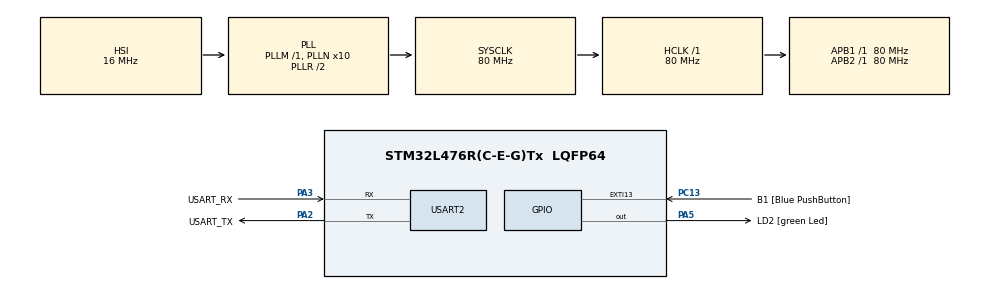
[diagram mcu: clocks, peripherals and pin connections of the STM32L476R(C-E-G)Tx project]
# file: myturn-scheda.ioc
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Mcu.Family=STM32L4
Mcu.Name=STM32L476R(C-E-G)Tx
Mcu.Package=LQFP64
NVIC.PriorityGroup=NVIC_PRIORITYGROUP_4
NVIC.USART2_IRQn=true\:0\:0\:false\:false\:true\:true\:true\:true
PA13\ (JTMS-SWDIO).GPIO_Label=TMS
PA13\ (JTMS-SWDIO).Signal=SYS_JTMS-SWDIO
PA14\ (JTCK-SWCLK).GPIO_Label=TCK
PA14\ (JTCK-SWCLK).Signal=SYS_JTCK-SWCLK
PA2.GPIO_Label=USART_TX
PA2.GPIO_Mode=GPIO_MODE_AF_PP
PA2.GPIO_PuPd=GPIO_NOPULL
PA2.GPIO_Speed=GPIO_SPEED_FREQ_VERY_HIGH
PA2.Mode=Asynchronous
PA2.Signal=USART2_TX
PA3.GPIO_Label=USART_RX
PA3.GPIO_Mode=GPIO_MODE_AF_PP
PA3.GPIO_PuPd=GPIO_NOPULL
PA3.GPIO_Speed=GPIO_SPEED_FREQ_VERY_HIGH
PA3.Mode=Asynchronous
PA3.Signal=USART2_RX
PA5.GPIO_Label=LD2 [green Led]
PA5.GPIO_ModeDefaultOutputPP=GPIO_MODE_OUTPUT_PP
PA5.GPIO_PuPd=GPIO_NOPULL
PA5.GPIO_Speed=GPIO_SPEED_FREQ_LOW
PA5.Signal=GPIO_Output
PB3\ (JTDO-TRACESWO).GPIO_Label=SWO
PB3\ (JTDO-TRACESWO).Signal=SYS_JTDO-SWO
PC13.GPIO_Label=B1 [Blue PushButton]
PC13.GPIO_ModeDefaultEXTI=GPIO_MODE_IT_FALLING
PC13.GPIO_PuPd=GPIO_NOPULL
PC13.Signal=GPXTI13
PC14-OSC32_IN\ (PC14).Signal=RCC_OSC32_IN
PC15-OSC32_OUT\ (PC15).Signal=RCC_OSC32_OUT
PH0-OSC_IN\ (PH0).Signal=RCC_OSC_IN
PH1-OSC_OUT\ (PH1).Signal=RCC_OSC_OUT
ProjectManager.HeapSize=0x200
ProjectManager.StackSize=0x400
ProjectManager.TargetToolchain=STM32CubeIDE
RCC.ADCFreq_Value=64000000
RCC.AHBFreq_Value=80000000
RCC.APB1Freq_Value=80000000
RCC.APB1TimFreq_Value=80000000
RCC.APB2Freq_Value=80000000
RCC.APB2TimFreq_Value=80000000
RCC.CortexFreq_Value=80000000
RCC.HCLKFreq_Value=80000000
RCC.HSE_VALUE=8000000
RCC.HSI_VALUE=16000000
RCC.LSE_VALUE=32768
RCC.MSI_VALUE=4000000
RCC.PLLN=10
RCC.PLLSourceVirtual=RCC_PLLSOURCE_HSI
RCC.PREFETCH_ENABLE=1
RCC.SYSCLKFreq_VALUE=80000000
RCC.SYSCLKSource=RCC_SYSCLKSOURCE_PLLCLK
RCC.USBFreq_Value=64000000
RCC.VCOOutputFreq_Value=160000000
USART2.VirtualMode-Asynchronous=VM_ASYNC
board=NUCLEO-L476RG

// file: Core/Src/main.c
/* USER CODE BEGIN Header */
/**
  ******************************************************************************
  * @file           : main.c
  * @brief          : MyTurn - Tappa 1 (gruppo 4 GOPHIES)
  ******************************************************************************
  * La scheda parla la lingua di MyTurn sulla seriale (USART2, 115200 baud):
  *   - B1 premuto:  OFF -> PENDING  scrive {"event":"REQUEST"}
  *                  PENDING/APPROVED -> OFF  scrive {"event":"RELEASE"}
  *   - dal PC:      {"command":"SET_LED","state":"APPROVED"}  (nessuna risposta)
  *                  {"command":"GET_LED"} -> {"led":"APPROVED"}
  * Niente HAL_Delay nel ciclo: il bottone risponde sempre, anche mentre il LED
  * lampeggia.
  ******************************************************************************
  */
/* USER CODE END Header */
#include "main.h"

/* USER CODE BEGIN Includes */
#include <string.h>
#include <stdio.h>

/* USER CODE END Includes */

/* USER CODE BEGIN PTD */
/* I tre stati del LED: UNA sola variabile, cambiata sia dal bottone sia dal PC */
typedef enum {
  LED_OFF = 0,     /* LED spento                         */
  LED_PENDING,     /* LED lampeggiante: ho chiesto turno  */
  LED_APPROVED     /* LED fisso: il PC ha approvato       */
} LedState;

/* USER CODE END PTD */

/* USER CODE BEGIN PD */
#define BLINK_MS     250   /* mezzo periodo del lampeggio                */
#define DEBOUNCE_MS  50    /* il bottone deve restare fermo per 50 ms    */
#define RX_MAX       64    /* lunghezza massima di una riga dal PC       */

/* USER CODE END PD */

UART_HandleTypeDef huart2;

/* USER CODE BEGIN PV */
static LedState ledState = LED_OFF;      /* lo stato: la "verita'" della scheda */

/* Ricezione dalla seriale (riempite dall'interrupt) */
static uint8_t rxByte;                   /* il byte appena arrivato            */
static char rxBuf[RX_MAX];               /* la riga che si sta componendo      */
static uint8_t rxLen = 0;
static char cmdLine[RX_MAX];             /* l'ultima riga completa             */
static volatile uint8_t cmdReady = 0;    /* 1 = c'e' una riga da elaborare      */

/* USER CODE END PV */

void SystemClock_Config(void);
static void MX_GPIO_Init(void);
static void MX_USART2_UART_Init(void);
/* USER CODE BEGIN PFP */
static void sendLine(const char *text);
static const char *stateName(LedState s);
static void onButtonPressed(void);
static void handleCommand(const char *line);
static void updateLed(void);

/* USER CODE END PFP */

/* USER CODE BEGIN 0 */

/* Scrive una riga sulla seriale, sempre con l'a capo finale */
static void sendLine(const char *text)
{
  HAL_UART_Transmit(&huart2, (uint8_t *)text, strlen(text), 100);
  HAL_UART_Transmit(&huart2, (uint8_t *)"\r\n", 2, 100);
}

static const char *stateName(LedState s)
{
  switch (s) {
    case LED_PENDING:  return "PENDING";
    case LED_APPROVED: return "APPROVED";
    default:           return "OFF";
  }
}

/* Regole del bottone (APPROVED non lo mette MAI il bottone) */
static void onButtonPressed(void)
{
  if (ledState == LED_OFF) {
    ledState = LED_PENDING;              /* chiedo il turno */
    sendLine("{\"event\":\"REQUEST\"}");
  } else {
    ledState = LED_OFF;                  /* rinuncio / ho finito */
    sendLine("{\"event\":\"RELEASE\"}");
  }
}

/* Comandi dal PC: riconosciamo le parole chiave con strstr */
static void handleCommand(const char *line)
{
  if (strstr(line, "\"SET_LED\"") != NULL) {
    if (strstr(line, "\"APPROVED\"") != NULL)      ledState = LED_APPROVED;
    else if (strstr(line, "\"PENDING\"") != NULL)  ledState = LED_PENDING;
    else if (strstr(line, "\"OFF\"") != NULL)      ledState = LED_OFF;
    /* SET_LED non risponde nulla */
  } else if (strstr(line, "\"GET_LED\"") != NULL) {
    char out[32];
    snprintf(out, sizeof(out), "{\"led\":\"%s\"}", stateName(ledState));
    sendLine(out);
  }
}

/* Il LED segue lo stato. Il lampeggio usa l'orologio, non HAL_Delay */
static void updateLed(void)
{
  static uint32_t lastToggle = 0;

  switch (ledState) {
    case LED_OFF:
      HAL_GPIO_WritePin(LD2_GPIO_Port, LD2_Pin, GPIO_PIN_RESET);
      break;
    case LED_PENDING:
      if (HAL_GetTick() - lastToggle >= BLINK_MS) {
        HAL_GPIO_TogglePin(LD2_GPIO_Port, LD2_Pin);
        lastToggle = HAL_GetTick();
      }
      break;
    case LED_APPROVED:
      HAL_GPIO_WritePin(LD2_GPIO_Port, LD2_Pin, GPIO_PIN_SET);
      break;
  }
}

/* USER CODE END 0 */

int main(void)
{

  /* MCU Configuration--------------------------------------------------------*/

  /* Reset of all peripherals, Initializes the Flash interface and the Systick. */
  HAL_Init();

  /* Configure the system clock */
  SystemClock_Config();

  /* Initialize all configured peripherals */
  MX_GPIO_Init();
  MX_USART2_UART_Init();
  /* USER CODE BEGIN 2 */
  /* Antirimbalzo: ricordo l'ultima lettura e da quando non cambia */
  GPIO_PinState lastReading = GPIO_PIN_SET;   /* B1 a riposo = SET (alto) */
  GPIO_PinState stableButton = GPIO_PIN_SET;
  uint32_t lastChange = 0;

  /* Avvio la ricezione a interrupt: un byte alla volta */
  HAL_UART_Receive_IT(&huart2, &rxByte, 1);

  /* USER CODE END 2 */

  /* Infinite loop */
  while (1)
  {

    /* USER CODE BEGIN 3 */
    uint32_t now = HAL_GetTick();

    /* 1. Bottone con antirimbalzo NON bloccante */
    GPIO_PinState reading = HAL_GPIO_ReadPin(B1_GPIO_Port, B1_Pin);
    if (reading != lastReading) {        /* e' cambiato: riparte il conteggio */
      lastReading = reading;
      lastChange = now;
    }
    if ((now - lastChange) >= DEBOUNCE_MS && reading != stableButton) {
      stableButton = reading;            /* fermo da 50 ms: e' un cambio vero */
      if (stableButton == GPIO_PIN_RESET) {
        onButtonPressed();               /* una pressione = una riga sola */
      }
    }

    /* 2. Comandi arrivati dal PC */
    if (cmdReady) {
      handleCommand(cmdLine);
      cmdReady = 0;
    }

    /* 3. Il LED segue lo stato */
    updateLed();
  }
  /* USER CODE END 3 */
}

void SystemClock_Config(void)
{
  RCC_OscInitTypeDef RCC_OscInitStruct = {0};
  RCC_ClkInitTypeDef RCC_ClkInitStruct = {0};

  /** Configure the main internal regulator output voltage
  */
  if (HAL_PWREx_ControlVoltageScaling(PWR_REGULATOR_VOLTAGE_SCALE1) != HAL_OK)
  {
    Error_Handler();
  }

  /** Initializes the RCC Oscillators according to the specified parameters
  * in the RCC_OscInitTypeDef structure.
  */
  RCC_OscInitStruct.OscillatorType = RCC_OSCILLATORTYPE_HSI;
  RCC_OscInitStruct.HSIState = RCC_HSI_ON;
  RCC_OscInitStruct.HSICalibrationValue = RCC_HSICALIBRATION_DEFAULT;
  RCC_OscInitStruct.PLL.PLLState = RCC_PLL_ON;
  RCC_OscInitStruct.PLL.PLLSource = RCC_PLLSOURCE_HSI;
  RCC_OscInitStruct.PLL.PLLM = 1;
  RCC_OscInitStruct.PLL.PLLN = 10;
  RCC_OscInitStruct.PLL.PLLP = RCC_PLLP_DIV7;
  RCC_OscInitStruct.PLL.PLLQ = RCC_PLLQ_DIV2;
  RCC_OscInitStruct.PLL.PLLR = RCC_PLLR_DIV2;
  if (HAL_RCC_OscConfig(&RCC_OscInitStruct) != HAL_OK)
  {
    Error_Handler();
  }

  /** Initializes the CPU, AHB and APB buses clocks
  */
  RCC_ClkInitStruct.ClockType = RCC_CLOCKTYPE_HCLK|RCC_CLOCKTYPE_SYSCLK
                              |RCC_CLOCKTYPE_PCLK1|RCC_CLOCKTYPE_PCLK2;
  RCC_ClkInitStruct.SYSCLKSource = RCC_SYSCLKSOURCE_PLLCLK;
  RCC_ClkInitStruct.AHBCLKDivider = RCC_SYSCLK_DIV1;
  RCC_ClkInitStruct.APB1CLKDivider = RCC_HCLK_DIV1;
  RCC_ClkInitStruct.APB2CLKDivider = RCC_HCLK_DIV1;

  if (HAL_RCC_ClockConfig(&RCC_ClkInitStruct, FLASH_LATENCY_4) != HAL_OK)
  {
    Error_Handler();
  }
}

static void MX_USART2_UART_Init(void)
{

  huart2.Instance = USART2;
  huart2.Init.BaudRate = 115200;
  huart2.Init.WordLength = UART_WORDLENGTH_8B;
  huart2.Init.StopBits = UART_STOPBITS_1;
  huart2.Init.Parity = UART_PARITY_NONE;
  huart2.Init.Mode = UART_MODE_TX_RX;
  huart2.Init.HwFlowCtl = UART_HWCONTROL_NONE;
  huart2.Init.OverSampling = UART_OVERSAMPLING_16;
  huart2.Init.OneBitSampling = UART_ONE_BIT_SAMPLE_DISABLE;
  huart2.AdvancedInit.AdvFeatureInit = UART_ADVFEATURE_NO_INIT;
  if (HAL_UART_Init(&huart2) != HAL_OK)
  {
    Error_Handler();
  }

}

static void MX_GPIO_Init(void)
{
  GPIO_InitTypeDef GPIO_InitStruct = {0};

  /* GPIO Ports Clock Enable */
  __HAL_RCC_GPIOC_CLK_ENABLE();
  __HAL_RCC_GPIOH_CLK_ENABLE();
  __HAL_RCC_GPIOA_CLK_ENABLE();
  __HAL_RCC_GPIOB_CLK_ENABLE();

  /*Configure GPIO pin Output Level */
  HAL_GPIO_WritePin(LD2_GPIO_Port, LD2_Pin, GPIO_PIN_RESET);

  /*Configure GPIO pin : B1_Pin */
  GPIO_InitStruct.Pin = B1_Pin;
  GPIO_InitStruct.Mode = GPIO_MODE_IT_FALLING;
  GPIO_InitStruct.Pull = GPIO_NOPULL;
  HAL_GPIO_Init(B1_GPIO_Port, &GPIO_InitStruct);

  /*Configure GPIO pin : LD2_Pin */
  GPIO_InitStruct.Pin = LD2_Pin;
  GPIO_InitStruct.Mode = GPIO_MODE_OUTPUT_PP;
  GPIO_InitStruct.Pull = GPIO_NOPULL;
  GPIO_InitStruct.Speed = GPIO_SPEED_FREQ_LOW;
  HAL_GPIO_Init(LD2_GPIO_Port, &GPIO_InitStruct);

}

/* USER CODE BEGIN 4 */

/* Chiamata dall'interrupt ogni volta che arriva UN byte dal PC.
 * Accumula i caratteri; a CR o LF la riga e' completa. */
void HAL_UART_RxCpltCallback(UART_HandleTypeDef *huart)
{
  if (huart->Instance == USART2) {
    if (rxByte == '\r' || rxByte == '\n') {          /* accettiamo CR e LF */
      if (rxLen > 0 && !cmdReady) {
        rxBuf[rxLen] = '\0';
        memcpy(cmdLine, rxBuf, rxLen + 1);           /* consegno la riga al main */
        cmdReady = 1;
      }
      rxLen = 0;                                     /* si ricomincia */
    } else if (rxLen < RX_MAX - 1) {
      rxBuf[rxLen++] = (char)rxByte;
    } else {
      rxLen = 0;                                     /* riga troppo lunga: scarto */
    }
    HAL_UART_Receive_IT(&huart2, &rxByte, 1);        /* aspetto il prossimo byte */
  }
}

/* Se la ricezione va in errore (es. overrun) la HAL si ferma: la riavviamo */
void HAL_UART_ErrorCallback(UART_HandleTypeDef *huart)
{
  if (huart->Instance == USART2) {
    rxLen = 0;
    HAL_UART_Receive_IT(&huart2, &rxByte, 1);
  }
}

/* USER CODE END 4 */

void Error_Handler(void)
{
  __disable_irq();
  while (1)
  {
  }
}
